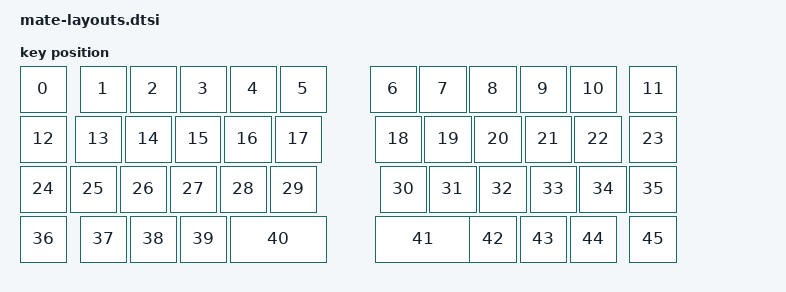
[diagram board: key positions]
#include <physical_layouts.dtsi>

/ {
    physical_layout0: physical_layout_0 {
        compatible = "zmk,physical-layout";
        display-name = "DefaultLayout";
        transform = <&default_transform>;
        keys  //                     w   h    x    y     rot    rx    ry
            = <&key_physical_attrs 100 100     0    0       0     0     0>
            , <&key_physical_attrs 100 100   120    0       0     0     0>
            , <&key_physical_attrs 100 100   220    0       0     0     0>
            , <&key_physical_attrs 100 100   320    0       0     0     0>
            , <&key_physical_attrs 100 100   420    0       0     0     0>
            , <&key_physical_attrs 100 100   520    0       0     0     0>
            , <&key_physical_attrs 100 100   700    0       0     0     0>
            , <&key_physical_attrs 100 100   800    0       0     0     0>
            , <&key_physical_attrs 100 100   900    0       0     0     0>
            , <&key_physical_attrs 100 100  1000    0       0     0     0>
            , <&key_physical_attrs 100 100  1100    0       0     0     0>
            , <&key_physical_attrs 100 100  1220    0       0     0     0>
            , <&key_physical_attrs 100 100     0  100       0     0     0>
            , <&key_physical_attrs 100 100   110  100       0     0     0>
            , <&key_physical_attrs 100 100   210  100       0     0     0>
            , <&key_physical_attrs 100 100   310  100       0     0     0>
            , <&key_physical_attrs 100 100   410  100       0     0     0>
            , <&key_physical_attrs 100 100   510  100       0     0     0>
            , <&key_physical_attrs 100 100   710  100       0     0     0>
            , <&key_physical_attrs 100 100   810  100       0     0     0>
            , <&key_physical_attrs 100 100   910  100       0     0     0>
            , <&key_physical_attrs 100 100  1010  100       0     0     0>
            , <&key_physical_attrs 100 100  1110  100       0     0     0>
            , <&key_physical_attrs 100 100  1220  100       0     0     0>
            , <&key_physical_attrs 100 100     0  200       0     0     0>
            , <&key_physical_attrs 100 100   100  200       0     0     0>
            , <&key_physical_attrs 100 100   200  200       0     0     0>
            , <&key_physical_attrs 100 100   300  200       0     0     0>
            , <&key_physical_attrs 100 100   400  200       0     0     0>
            , <&key_physical_attrs 100 100   500  200       0     0     0>
            , <&key_physical_attrs 100 100   720  200       0     0     0>
            , <&key_physical_attrs 100 100   820  200       0     0     0>
            , <&key_physical_attrs 100 100   920  200       0     0     0>
            , <&key_physical_attrs 100 100  1020  200       0     0     0>
            , <&key_physical_attrs 100 100  1120  200       0     0     0>
            , <&key_physical_attrs 100 100  1220  200       0     0     0>
            , <&key_physical_attrs 100 100     0  300       0     0     0>
            , <&key_physical_attrs 100 100   120  300       0     0     0>
            , <&key_physical_attrs 100 100   220  300       0     0     0>
            , <&key_physical_attrs 100 100   320  300       0     0     0>
            , <&key_physical_attrs 200 100   420  300       0     0     0>
            , <&key_physical_attrs 200 100   710  300       0     0     0>
            , <&key_physical_attrs 100 100   900  300       0     0     0>
            , <&key_physical_attrs 100 100  1000  300       0     0     0>
            , <&key_physical_attrs 100 100  1100  300       0     0     0>
            , <&key_physical_attrs 100 100  1220  300       0     0     0>
            ;
    };
};
